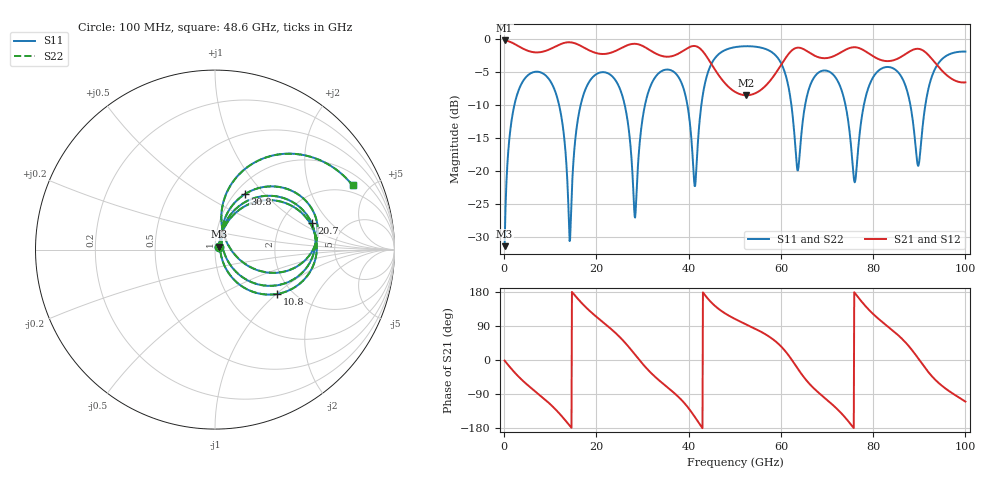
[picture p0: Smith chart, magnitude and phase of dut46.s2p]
! Touchstone file exported from HFSS 2026.1.0
!  File:  C:/ffzhzh/LocalFiles/Ansys_Project_Files/temp_train_TSV_RDL_46_1783444072_28540.aedt
!  Generated:  01:31:20 AM Jul  8, 2026
!  Design:  TSV_RDL
!  Project:  temp_train_TSV_RDL_46_1783444072_28540
! Variables:
!  h_bsmrdl = 4.68um
!  h_ox = 20um
!  h_rdl = 5um
!  h_sub = 56.93um
!  h_tmrdl = 4.89um
!  h_tsv = 56.93um
!  h_via = 3um
!  l_bsmrdl = 468.35um
!  l_sub = 4282.65um
!  l_tmrdl = 595.61um
!  m_sub = 200um
!  pitch = 41.64um
!  r_tsv = 6.82um
!  s_tmrdl = 10um
!  w_bsmrdl = 20.08um
!  w_sub = 500um
!  w_tmrdl = 11.64um
!  x_tsv_center1 = 601.43um
!  x_tsv_center2 = 1089.86um
!  x_tsv_center3 = 1697.11um
!  x_tsv_center4 = 2185.54um
!  x_tsv_center5 = 2792.79um
!  x_tsv_center6 = 3281.22um
# GHz S MA R 50.000000
! Terminal data exported
! Port[1] = TM_RDL1_1_T1
! Port[2] = TM_RDL5_1_T1
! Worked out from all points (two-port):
!   1000 points, 100 MHz to 100 GHz, reference 50 ohm
!   highest |S21| = -0.19 dB at 100 MHz (marker M1); lowest = -8.5 dB at 52.5 GHz (marker M2)
!   |S21| within 3 dB of the highest: start of sweep to 44.42 GHz; 60.69 GHz to 81.88 GHz (21.18 GHz wide, 29.7 % of centre) (the widest 2 of 3)
!   lowest |S11| = -31.3 dB at 100 MHz (marker M3), VSWR 1.06, Z = 52.2 + j1.68 ohm
!   |S11| at or under -10 dB: 11.92 GHz to 16.57 GHz (4.647 GHz wide, 32.6 % of centre); 26.15 GHz to 30.52 GHz (4.367 GHz wide, 15.4 % of centre); 74.01 GHz to 77.98 GHz (3.969 GHz wide, 5.22 % of centre) (the widest 3 of 7)
!   |S22| runs from -31.3 to -1.1 dB; largest |S21 - S12| = 1.2e-13
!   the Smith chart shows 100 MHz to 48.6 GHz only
!   S11 on the Smith chart (normalised r, x): 100 MHz: 1.04, +0.03; 10.8 GHz: 1.68, -1.01; 20.7 GHz: 2.93, +1.26; 30.8 GHz: 1.11, +0.78; 48.6 GHz: 1.56, +3.92
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0.1  0.02712 36.4  0.9785 -1.6  0.9785 -1.6  0.02712 36.4
! Gamma 0 0 0 0
! Port Impedance 50 0 50 0
3.1  0.4074 42.6  0.8857 -43.6  0.8857 -43.6  0.4074 42.6
10.8  0.4254 -35.5  0.8692 -126.1  0.8692 -126.1  0.4254 -35.5
14.2  0.02963 -5.2  0.948 -173.0  0.948 -173.0  0.02939 -5.4
16.8  0.3407 54.9  0.8835 150.5  0.8835 150.5  0.3407 54.9
20.7  0.5583 15.3  0.7759 107.0  0.7759 107.0  0.5582 15.4
25.7  0.3654 -33.6  0.8672 52.5  0.8672 52.5  0.3654 -33.5
28.3  0.04544 0.9  0.9234 15.4  0.9234 15.4  0.04569 1.1
30.8  0.349 61.9  0.8594 -20.9  0.8594 -20.9  0.349 61.9
33.4  0.5482 35.5  0.7635 -51.7  0.7635 -51.7  0.5482 35.5
42  0.1641 77.6  0.873 -162.2  0.873 -162.2  0.1646 77.3
48.6  0.8461 25.0  0.4372 117.9  0.4372 117.9  0.8461 25.0
50.1  0.8714 16.1  0.3986 108.0  0.3986 108.0  0.8714 16.1
52.5  0.8853 3.2  0.3764 93.8  0.3764 93.8  0.8853 3.3
59.9  0.6721 -46.1  0.6271 37.5  0.6271 37.5  0.672 -46.0
63.6  0.1016 -26.1  0.863 -21.8  0.863 -21.8  0.1017 -26.0
66.7  0.4783 14.1  0.7709 -69.4  0.7709 -69.4  0.4784 14.2
72.5  0.4687 -37.8  0.7767 -133.0  0.7767 -133.0  0.469 -37.6
75.7  0.09736 -31.4  0.869 -178.2  0.869 -178.2  0.09915 -30.8
83.4  0.6157 -3.8  0.6829 86.3  0.6829 86.3  0.6158 -3.9
90  0.119 21.1  0.8438 0.3  0.8438 0.3  0.1176 21.3
100  0.8059 -19.8  0.4712 -109.7  0.4712 -109.7  0.8057 -19.8
